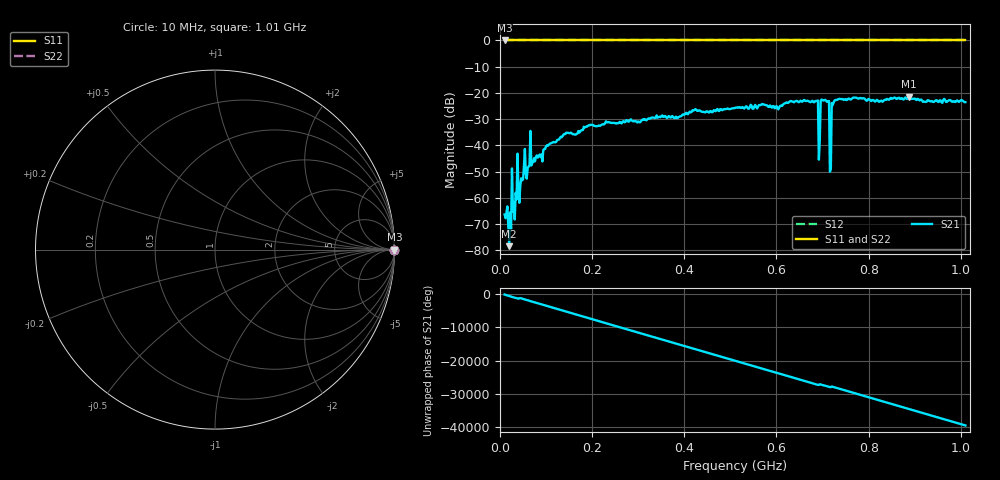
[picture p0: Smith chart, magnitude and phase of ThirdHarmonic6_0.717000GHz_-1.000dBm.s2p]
! 8/15/2025 11:58:53 PM
! C:\ANRITSUVNA\TEMP\TEMP.S2P
! CHANNEL.1
! TR.MEASUREMENT
! RAW.DATA
! RF.CORRECTION.OFF
! AVERAGING.OFF
! IF.BANDWIDTH: 5KHZ
! SWEEPTYPE:  FREQ.SWEEP(Linear)
! Reference Plane Port Info
! PORT:  PORT1  PORT2
! DISTANCE:  0  m  0  m
! TIME:  0  s  0  s
! PHASE.OFFSET:  0  deg.  0  deg.
! LOSS:  0  dB  0  dB
! REF.LOSS:  0  dB  0  dB
! REF.FREQ:  0  Hz  0  Hz
! Power Info
! POWER:  -20  dBm  -20  dBm
! EFF.POWER:  -20  dBm  -20  dBm
! SOURCE.ATTEN:  0  dB  0  dB
! TEST.ATTEN:  0  dB  0  dB
# GHZ S RI R 50.0
! FREQ.GHZ  S11RE  S11IM  S21RE  S21IM  S12RE  S12IM  S22RE  S22IM
!; PortSelection: Port_12
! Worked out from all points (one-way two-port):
!   501 points, 10 MHz to 1.01 GHz, reference 50 ohm
!   highest |S21| = -21.47 dB at 888 MHz (marker M1); lowest = -78.4 dB at 20 MHz (marker M2)
!   lowest |S11| = 0.0 dB at 10 MHz (marker M3)
!   |S11| at or under -10 dB: nowhere
!   |S22| runs from 0.0 to 0.0 dB; largest |S21 - S12| = 1.1
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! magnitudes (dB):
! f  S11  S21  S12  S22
! 10 MHz  0.0  -66.3  0.0  0.0
! 20 MHz  0.0  -78.4  0.0  0.0
! 30 MHz  0.0  -61.6  0.0  0.0
! 32 MHz  0.0  -68.2  0.0  0.0
! 50 MHz  0.0  -53.0  0.0  0.0
! 66 MHz  0.0  -34.5  0.0  0.0
! 178 MHz  0.0  -34.2  0.0  0.0
! 344 MHz  0.0  -29.2  0.0  0.0
! 510 MHz  0.0  -25.7  0.0  0.0
! 678 MHz  0.0  -23.0  0.0  0.0
! 686 MHz  0.0  -23.0  0.0  0.0
! 690 MHz  0.0  -22.9  0.0  0.0
! 696 MHz  0.0  -22.9  0.0  0.0
! 700 MHz  0.0  -22.8  0.0  0.0
! 710 MHz  0.0  -23.5  0.0  0.0
! 714 MHz  0.0  -23.1  0.0  0.0
! 720 MHz  0.0  -23.8  0.0  0.0
! 724 MHz  0.0  -23.7  0.0  0.0
! 730 MHz  0.0  -22.7  0.0  0.0
! 844 MHz  0.0  -22.6  0.0  0.0
! 888 MHz  0.0  -21.5  0.0  0.0
! 1.01 GHz  0.0  -23.5  0.0  0.0
